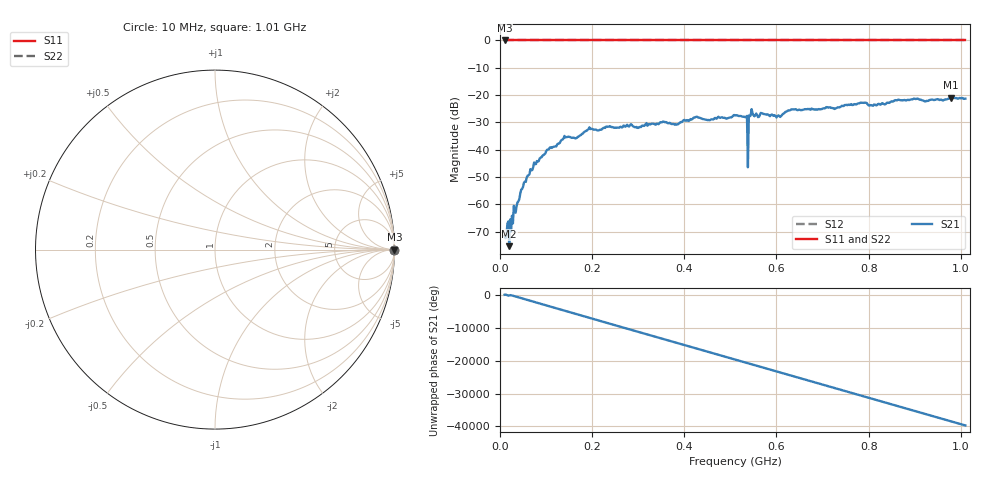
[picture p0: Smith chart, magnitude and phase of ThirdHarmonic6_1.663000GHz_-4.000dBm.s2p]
! 8/16/2025 7:55:34 PM
! C:\ANRITSUVNA\TEMP\TEMP.S2P
! CHANNEL.1
! TR.MEASUREMENT
! RAW.DATA
! RF.CORRECTION.OFF
! AVERAGING.OFF
! IF.BANDWIDTH: 5KHZ
! SWEEPTYPE:  FREQ.SWEEP(Linear)
! Reference Plane Port Info
! PORT:  PORT1  PORT2
! DISTANCE:  0  m  0  m
! TIME:  0  s  0  s
! PHASE.OFFSET:  0  deg.  0  deg.
! LOSS:  0  dB  0  dB
! REF.LOSS:  0  dB  0  dB
! REF.FREQ:  0  Hz  0  Hz
! Power Info
! POWER:  -20  dBm  -20  dBm
! EFF.POWER:  -20  dBm  -20  dBm
! SOURCE.ATTEN:  0  dB  0  dB
! TEST.ATTEN:  0  dB  0  dB
# GHZ S RI R 50.0
! FREQ.GHZ  S11RE  S11IM  S21RE  S21IM  S12RE  S12IM  S22RE  S22IM
!; PortSelection: Port_12
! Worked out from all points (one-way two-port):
!   501 points, 10 MHz to 1.01 GHz, reference 50 ohm
!   highest |S21| = -20.91 dB at 978 MHz (marker M1); lowest = -75.3 dB at 20 MHz (marker M2)
!   lowest |S11| = 0.0 dB at 10 MHz (marker M3)
!   |S11| at or under -10 dB: nowhere
!   |S22| runs from 0.0 to 0.0 dB; largest |S21 - S12| = 1.1
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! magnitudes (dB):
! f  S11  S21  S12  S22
! 10 MHz  0.0  -71.6  0.0  0.0
! 20 MHz  0.0  -75.3  0.0  0.0
! 24 MHz  0.0  -69.9  0.0  0.0
! 26 MHz  0.0  -64.2  0.0  0.0
! 50 MHz  0.0  -53.6  0.0  0.0
! 76 MHz  0.0  -45.3  0.0  0.0
! 138 MHz  0.0  -35.8  0.0  0.0
! 178 MHz  0.0  -34.2  0.0  0.0
! 196 MHz  0.0  -32.4  0.0  0.0
! 344 MHz  0.0  -30.6  0.0  0.0
! 382 MHz  0.0  -30.7  0.0  0.0
! 510 MHz  0.0  -27.3  0.0  0.0
! 532 MHz  0.0  -28.1  0.0  0.0
! 534 MHz  0.0  -28.0  0.0  0.0
! 542 MHz  0.0  -27.7  0.0  0.0
! 544 MHz  0.0  -27.5  0.0  0.0
! 604 MHz  0.0  -27.4  0.0  0.0
! 632 MHz  0.0  -25.2  0.0  0.0
! 678 MHz  0.0  -25.1  0.0  0.0
! 844 MHz  0.0  -22.9  0.0  0.0
! 978 MHz  0.0  -20.9  0.0  0.0
! 1.01 GHz  0.0  -21.3  0.0  0.0
